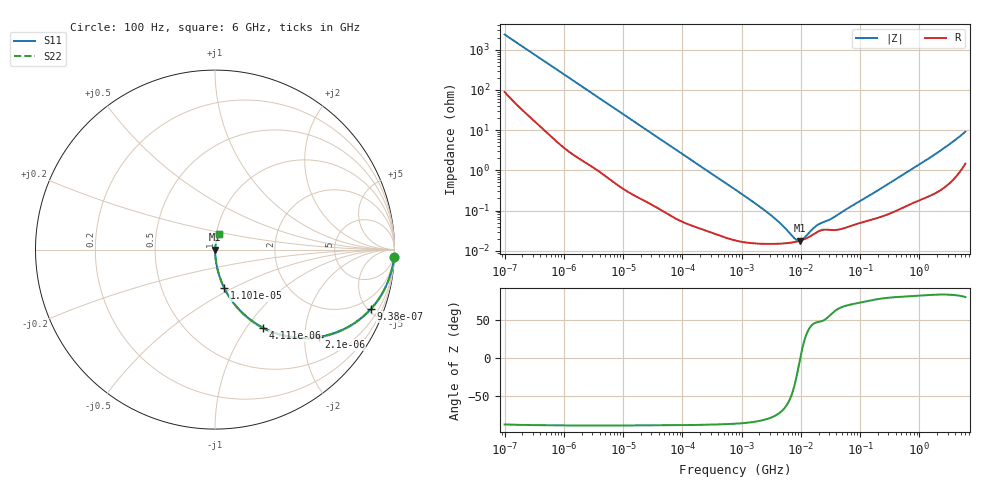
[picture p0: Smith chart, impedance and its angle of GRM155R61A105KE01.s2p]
!Murata Part Number: GRM155R61A105KE01
!These Parameters are Measured in Series Mode Connection
!Data Generated on Mar 30, 2021
!  o--ll--o
!Port1  Port2
!  o------o
!Operation Temp=25[degC], DC Bias Voltage=0[V]
!Freq. Start=100[Hz] Stop=6[GHz] 401[Steps]
# Hz S RI R 50
!Freq.(Hz) S11(Real) S11(Imag) S21(Real) S21(Imag) S12(Real) S12(Imag) S22(Real) S22(Imag)
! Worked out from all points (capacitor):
!   401 points, 100 Hz to 6 GHz, reference 50 ohm
!   read as one part in series: C = 664 nF near 109 Hz
!   lowest |Z| = 17.7 mohm at 9.506 MHz (marker M1)
!   series resonance near 9.795 MHz, so ESL is about 400 pH
!   S11 on the Smith chart (normalised r, x): 100 Hz: 3, -48; 938 Hz: 1.08, -5.21; 2.1 kHz: 1.03, -2.34; 4.111 kHz: 1.02, -1.20; 11.01 kHz: 1.01, -0.45; 6 GHz: 1.03, +0.18
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100  0.9967 -0.0416  0.0033 0.0416  0.0033 0.0416  0.9967 -0.0416
335  0.9784 -0.1349  0.0216 0.1349  0.0216 0.1349  0.9784 -0.1349
938  0.8679 -0.3311  0.1321 0.3311  0.1321 0.3311  0.8679 -0.3311
1342  0.766 -0.4163  0.234 0.4163  0.234 0.4163  0.766 -0.4163
2008  0.5982 -0.4831  0.4018 0.4831  0.4018 0.4831  0.5982 -0.4831
2100  0.577 -0.4868  0.423 0.4868  0.423 0.4868  0.577 -0.4868
4111  0.269 -0.4361  0.731 0.4361  0.731 0.4361  0.269 -0.4361
6433  0.1333 -0.3329  0.8667 0.3329  0.8667 0.3329  0.1333 -0.3329
11009  0.0515 -0.2142  0.9485 0.2142  0.9485 0.2142  0.0515 -0.2142
40335  0.00499 -0.0622  0.995 0.0622  0.995 0.0622  0.00499 -0.0622
774597  0.000192 -0.00335  0.9998 0.00335  0.9998 0.00335  0.000192 -0.00335
2967816  0.000148 -0.000801  0.9999 0.000801  0.9999 0.000801  0.000148 -0.000801
4643984  0.000151 -0.000436  0.9998 0.000436  0.9998 0.000436  0.000151 -0.000436
7947587  0.000165 -0.000111  0.9998 0.000111  0.9998 0.000111  0.000165 -0.000111
9506416  0.000176 -1.56e-05  0.9998 1.56e-05  0.9998 1.56e-05  0.000176 -1.56e-05
1.137099e7  0.000193 7.8e-05  0.9998 -7.8e-05  0.9998 -7.8e-05  0.000193 7.8e-05
1.555665e7  0.000244 0.000235  0.9998 -0.000235  0.9998 -0.000235  0.000244 0.000235
2.035112e7  0.000308 0.000343  0.9997 -0.000343  0.9997 -0.000343  0.000308 0.000343
3.482834e7  0.000326 0.000571  0.9997 -0.000571  0.9997 -0.000571  0.000326 0.000571
3.124326e8  0.000851 0.00469  0.9991 -0.00469  0.9991 -0.00469  0.000851 0.00469
1.791126e9  0.00318 0.0241  0.9968 -0.0241  0.9968 -0.0241  0.00318 0.0241
6e9  0.0222 0.0869  0.9778 -0.0869  0.9778 -0.0869  0.0222 0.0869
